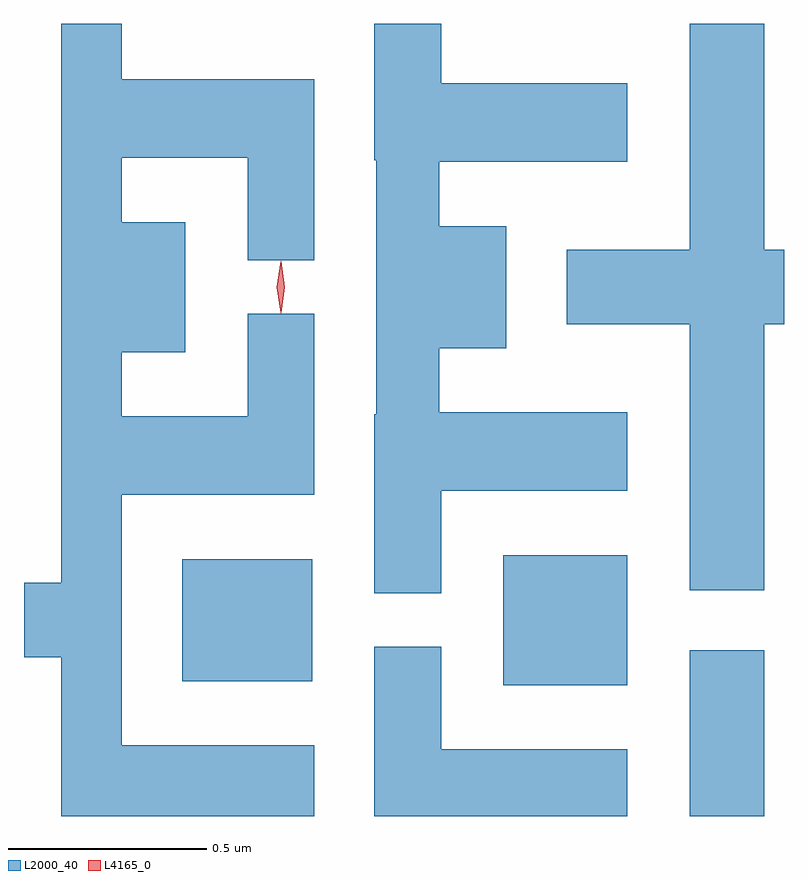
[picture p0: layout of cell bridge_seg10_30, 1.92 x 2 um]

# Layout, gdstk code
import gdstk
lib = gdstk.Library(unit=1e-6, precision=1e-09)
def R(c, l, rs):  # rectangles x0, y0, x1, y1
    for r in rs: c.add(gdstk.rectangle(r[:2], r[2:], *l))
def P(c, l, *ps):  # polygons
    for p in ps: c.add(gdstk.Polygon(p, *l))
L2000_40 = (2000, 40)
L4165_0 = (4165, 0)

bridge_seg10_30 = lib.new_cell('bridge_seg10_30')
R(bridge_seg10_30, L2000_40, [(1751.166,2177.915,1751.354,2178.334), (1750.696,2178.246,1751.009,2178.574), (1749.886,2178.256,1750.214,2178.564)])
P(bridge_seg10_30, L2000_40, [(1750.219,2178.094),(1749.734,2178.094),(1749.734,2178.726),(1750.219,2178.726),(1750.219,2179.183),(1750.051,2179.183),(1750.051,2178.924),(1749.734,2178.924),(1749.734,2179.086),(1749.894,2179.086),(1749.894,2179.414),(1749.734,2179.414),(1749.734,2179.576),(1750.051,2179.576),(1750.051,2179.318),(1750.219,2179.318),(1750.219,2179.774),(1749.734,2179.774),(1749.734,2179.915),(1749.581,2179.915),(1749.581,2178.504),(1749.487,2178.504),(1749.487,2178.316),(1749.581,2178.316),(1749.581,2177.915),(1750.219,2177.915)],
  [(1751.354,2179.156),(1751.404,2179.156),(1751.404,2179.344),(1751.354,2179.344),(1751.354,2179.915),(1751.166,2179.915),(1751.166,2179.344),(1750.856,2179.344),(1750.856,2179.156),(1751.166,2179.156),(1751.166,2178.486),(1751.354,2178.486)],
  [(1750.539,2178.736),(1751.009,2178.736),(1751.009,2178.934),(1750.534,2178.934),(1750.534,2179.096),(1750.704,2179.096),(1750.704,2179.404),(1750.534,2179.404),(1750.534,2179.566),(1751.009,2179.566),(1751.009,2179.764),(1750.539,2179.764),(1750.539,2179.915),(1750.371,2179.915),(1750.371,2179.57),(1750.376,2179.57),(1750.376,2178.93),(1750.371,2178.93),(1750.371,2178.478),(1750.539,2178.478)],
  [(1751.009,2178.084),(1750.539,2178.084),(1750.539,2178.343),(1750.371,2178.343),(1750.371,2177.915),(1751.009,2177.915)])
P(bridge_seg10_30, L4165_0, [(1750.135,2179.184),(1750.134,2179.185),(1750.125,2179.25),(1750.134,2179.315),(1750.135,2179.316),(1750.136,2179.315),(1750.145,2179.25),(1750.136,2179.185)])

lib.write_gds('bridge_seg10_30.gds')
